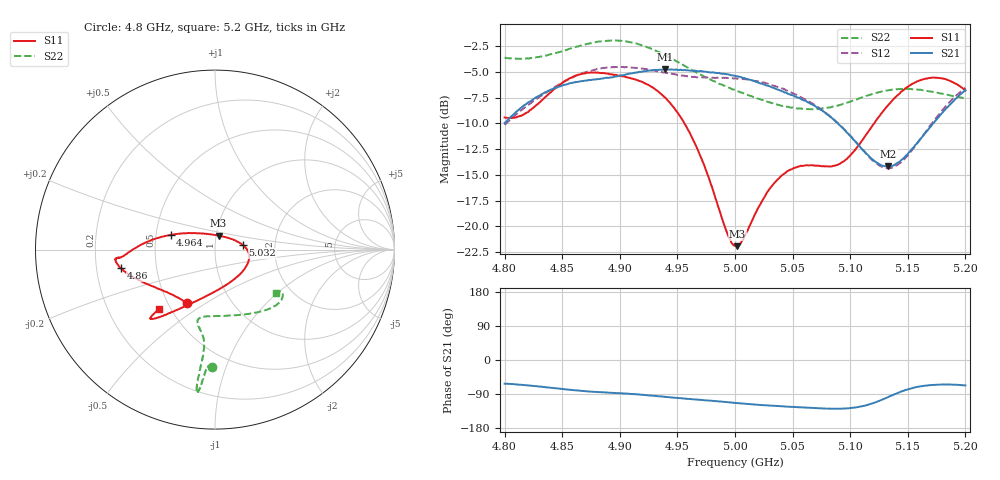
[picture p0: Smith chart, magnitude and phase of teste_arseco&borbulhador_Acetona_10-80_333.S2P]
! Network Analyzer HP8722D
! Hewlett-Packard
! Data name: Linha & Wilkinson
! Saver's name: Rodrigo Anjos
! Comments: Teste da utilização de aquisição
! continua pelo VNA HP8722D
! Time and date: 17/4/2025 17:08
!  Frequency  S11  S21  S12  S22
# HZ  S  MA R 50
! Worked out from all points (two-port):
!   401 points, 4.8 GHz to 5.2 GHz, reference 50 ohm
!   highest |S21| = -4.77 dB at 4.939 GHz (marker M1); lowest = -14.2 dB at 5.133 GHz (marker M2)
!   |S21| within 3 dB of the highest: 4.824 GHz to 5.06 GHz (236.1 MHz wide, 4.78 % of centre); 5.190362 GHz to end of sweep
!   lowest |S11| = -21.9 dB at 5.002 GHz (marker M3), VSWR 1.17, Z = 51.4 + j8.02 ohm
!   |S11| at or under -10 dB: 4.956 GHz to 5.121 GHz (165.1 MHz wide, 3.28 % of centre)
!   |S22| runs from -8.6 to -2.0 dB; largest |S21 - S12| = 0.87
!   S11 on the Smith chart (normalised r, x): 4.8 GHz: 0.62, -0.42; 4.86 GHz: 0.31, -0.09; 4.964 GHz: 0.60, +0.10; 5.032 GHz: 1.36, +0.07; 5.2 GHz: 0.43, -0.36
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4.8e9  0.3376 -117.2  0.3168 -62.5  0.311 -176.6  0.657 -91.5
4.818e9  0.3529 -136.4  0.3891 -66.4  0.3793 -176.3  0.6515 -93.1
4.86e9  0.5341 -168.7  0.4997 -79.5  0.5304 -179.8  0.7371 -95.5
4.867e9  0.5493 -171.4  0.5068 -81.6  0.5512 178.9  0.7558 -95.8
4.9e9  0.5388 -175.3  0.5375 -87.7  0.593 173.0  0.7949 -97.2
4.934e9  0.448 179.2  0.5749 -95.9  0.565 169.8  0.6996 -97.3
4.939e9  0.4229 177.2  0.5774 -97.3  0.5587 169.9  0.6786 -97.2
4.964e9  0.2608 161.7  0.5686 -103.8  0.5312 171.8  0.5685 -96.4
4.975e9  0.1857 150.6  0.5627 -106.4  0.5271 172.9  0.5271 -96.6
4.993e9  0.09332 112.1  0.5467 -111.1  0.5248 174.1  0.4746 -98.8
5e9  0.08044 84.2  0.5369 -113.2  0.5229 174.1  0.4578 -100.0
5.002e9  0.08005 75.4  0.5347 -113.8  0.5197 174.0  0.4545 -100.6
5.032e9  0.1567 9.8  0.472 -120.8  0.4842 172.9  0.3962 -103.2
5.047e9  0.1869 -4.4  0.4378 -123.2  0.4515 172.2  0.3786 -99.3
5.067e9  0.1977 -25.7  0.3897 -126.6  0.395 172.0  0.3697 -88.0
5.096e9  0.2104 -75.9  0.29 -128.0  0.2909 174.9  0.3962 -65.8
5.119e9  0.3061 -110.2  0.2119 -114.7  0.2097 -169.9  0.4381 -50.5
5.133e9  0.3873 -121.2  0.1951 -97.7  0.1914 -150.8  0.4572 -43.7
5.134e9  0.393 -121.8  0.1955 -96.3  0.1913 -149.5  0.4583 -43.3
5.147e9  0.4615 -127.7  0.2156 -80.5  0.2119 -130.9  0.4641 -38.5
5.168e9  0.5243 -132.4  0.2965 -66.8  0.3011 -113.2  0.452 -33.5
5.2e9  0.4563 -133.4  0.458 -67.2  0.4704 -109.1  0.4165 -35.1
